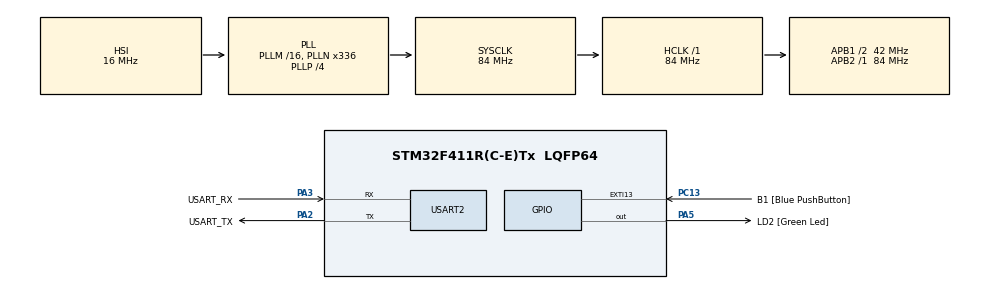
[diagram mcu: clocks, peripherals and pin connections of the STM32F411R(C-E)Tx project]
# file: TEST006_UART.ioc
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Mcu.Family=STM32F4
Mcu.Name=STM32F411R(C-E)Tx
Mcu.Package=LQFP64
NVIC.PriorityGroup=NVIC_PRIORITYGROUP_0
NVIC.USART2_IRQn=true\:0\:0\:false\:false\:true\:true\:true\:true
PA13.GPIO_Label=TMS
PA13.Mode=Serial_Wire
PA13.Signal=SYS_JTMS-SWDIO
PA14.GPIO_Label=TCK
PA14.Mode=Serial_Wire
PA14.Signal=SYS_JTCK-SWCLK
PA2.GPIO_Label=USART_TX
PA2.Mode=Asynchronous
PA2.Signal=USART2_TX
PA3.GPIO_Label=USART_RX
PA3.Mode=Asynchronous
PA3.Signal=USART2_RX
PA5.GPIO_Label=LD2 [Green Led]
PA5.Signal=GPIO_Output
PB3.GPIO_Label=SWO
PB3.Signal=SYS_JTDO-SWO
PC13-ANTI_TAMP.GPIO_Label=B1 [Blue PushButton]
PC13-ANTI_TAMP.GPIO_ModeDefaultEXTI=GPIO_MODE_IT_FALLING
PC13-ANTI_TAMP.Signal=GPXTI13
PC14-OSC32_IN.Mode=LSE-External-Oscillator
PC14-OSC32_IN.Signal=RCC_OSC32_IN
PC15-OSC32_OUT.Mode=LSE-External-Oscillator
PC15-OSC32_OUT.Signal=RCC_OSC32_OUT
PH0\ -\ OSC_IN.Mode=HSE-External-Clock-Source
PH0\ -\ OSC_IN.Signal=RCC_OSC_IN
PH1\ -\ OSC_OUT.Mode=HSE-External-Clock-Source
PH1\ -\ OSC_OUT.Signal=RCC_OSC_OUT
ProjectManager.HeapSize=0x200
ProjectManager.StackSize=0x400
ProjectManager.TargetToolchain=STM32CubeIDE
RCC.48MHZClocksFreq_Value=84000000
RCC.AHBFreq_Value=84000000
RCC.APB1CLKDivider=RCC_HCLK_DIV2
RCC.APB1Freq_Value=42000000
RCC.APB1TimFreq_Value=84000000
RCC.APB2Freq_Value=84000000
RCC.APB2TimFreq_Value=84000000
RCC.CortexFreq_Value=84000000
RCC.FLatency-AdvancedSettings=FLASH_LATENCY_2
RCC.HCLKFreq_Value=84000000
RCC.HSE_VALUE=8000000
RCC.HSI_VALUE=16000000
RCC.PLLN=336
RCC.PLLP=RCC_PLLP_DIV4
RCC.SYSCLKFreq_VALUE=84000000
RCC.SYSCLKSource=RCC_SYSCLKSOURCE_PLLCLK
RCC.VCOOutputFreq_Value=336000000
USART2.VirtualMode=VM_ASYNC
board=NUCLEO-F411RE

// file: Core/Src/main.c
/* USER CODE BEGIN Header */
/**
  ******************************************************************************
  * @file           : main.c
  * @brief          : Main program body
  ******************************************************************************
  * @attention
  *
  * Copyright (c) 2024 STMicroelectronics.
  * All rights reserved.
  *
  * This software is licensed under terms that can be found in the LICENSE file
  * in the root directory of this software component.
  * If no LICENSE file comes with this software, it is provided AS-IS.
  *
  ******************************************************************************
  */
/* USER CODE END Header */
#include "main.h"

UART_HandleTypeDef huart2;

void SystemClock_Config(void);
static void MX_GPIO_Init(void);
static void MX_USART2_UART_Init(void);

/* USER CODE BEGIN 0 */
char buf[500];
char dum;
int idx1 = 0;
int cmdok = 1;
void HAL_UART_RxCpltCallback(UART_HandleTypeDef *huart)
{
   HAL_UART_Transmit(&huart2, &dum, 1, 10);
   if(dum == '\r')
   {
      HAL_UART_Transmit(&huart2, "\n", 1, 10);
      cmdok = 1;
   }
   else cmdok = 0;

   buf[idx1++] = dum;
   buf[idx1] = 0;

   HAL_UART_Receive_IT(&huart2, &dum, 1);  // 1회성

   /*
   if(idx1 > 0 && dum == 0x0d)
   {
      printf("%s\r\n", buf); idx1 = 0;
   }
   */
}
/* USER CODE END 0 */

int main(void)
{

  /* MCU Configuration--------------------------------------------------------*/

  /* Reset of all peripherals, Initializes the Flash interface and the Systick. */
  HAL_Init();

  /* Configure the system clock */
  SystemClock_Config();

  /* Initialize all configured peripherals */
  MX_GPIO_Init();
  MX_USART2_UART_Init();
  /* USER CODE BEGIN 2 */
  ProgramStart("UART Rx-Interrupt");
  HAL_UART_Receive_IT(&huart2, &dum, 1);
  /* USER CODE END 2 */

  /* Infinite loop */
  while (1)
  {
     //if(idx1 > 0)
     if(cmdok > 0)
        {
    	 printf("%s\r\n\033[A\n>", buf);
         idx1 = 0;
         cmdok = 0;
        }
     HAL_Delay(10);
  }
}

void SystemClock_Config(void)
{
  RCC_OscInitTypeDef RCC_OscInitStruct = {0};
  RCC_ClkInitTypeDef RCC_ClkInitStruct = {0};

  /** Configure the main internal regulator output voltage
  */
  __HAL_RCC_PWR_CLK_ENABLE();
  __HAL_PWR_VOLTAGESCALING_CONFIG(PWR_REGULATOR_VOLTAGE_SCALE1);

  /** Initializes the RCC Oscillators according to the specified parameters
  * in the RCC_OscInitTypeDef structure.
  */
  RCC_OscInitStruct.OscillatorType = RCC_OSCILLATORTYPE_HSI;
  RCC_OscInitStruct.HSIState = RCC_HSI_ON;
  RCC_OscInitStruct.HSICalibrationValue = RCC_HSICALIBRATION_DEFAULT;
  RCC_OscInitStruct.PLL.PLLState = RCC_PLL_ON;
  RCC_OscInitStruct.PLL.PLLSource = RCC_PLLSOURCE_HSI;
  RCC_OscInitStruct.PLL.PLLM = 16;
  RCC_OscInitStruct.PLL.PLLN = 336;
  RCC_OscInitStruct.PLL.PLLP = RCC_PLLP_DIV4;
  RCC_OscInitStruct.PLL.PLLQ = 4;
  if (HAL_RCC_OscConfig(&RCC_OscInitStruct) != HAL_OK)
  {
    Error_Handler();
  }

  /** Initializes the CPU, AHB and APB buses clocks
  */
  RCC_ClkInitStruct.ClockType = RCC_CLOCKTYPE_HCLK|RCC_CLOCKTYPE_SYSCLK
                              |RCC_CLOCKTYPE_PCLK1|RCC_CLOCKTYPE_PCLK2;
  RCC_ClkInitStruct.SYSCLKSource = RCC_SYSCLKSOURCE_PLLCLK;
  RCC_ClkInitStruct.AHBCLKDivider = RCC_SYSCLK_DIV1;
  RCC_ClkInitStruct.APB1CLKDivider = RCC_HCLK_DIV2;
  RCC_ClkInitStruct.APB2CLKDivider = RCC_HCLK_DIV1;

  if (HAL_RCC_ClockConfig(&RCC_ClkInitStruct, FLASH_LATENCY_2) != HAL_OK)
  {
    Error_Handler();
  }
}

static void MX_USART2_UART_Init(void)
{

  huart2.Instance = USART2;
  huart2.Init.BaudRate = 115200;
  huart2.Init.WordLength = UART_WORDLENGTH_8B;
  huart2.Init.StopBits = UART_STOPBITS_1;
  huart2.Init.Parity = UART_PARITY_NONE;
  huart2.Init.Mode = UART_MODE_TX_RX;
  huart2.Init.HwFlowCtl = UART_HWCONTROL_NONE;
  huart2.Init.OverSampling = UART_OVERSAMPLING_16;
  if (HAL_UART_Init(&huart2) != HAL_OK)
  {
    Error_Handler();
  }

}

static void MX_GPIO_Init(void)
{
  GPIO_InitTypeDef GPIO_InitStruct = {0};

  /* GPIO Ports Clock Enable */
  __HAL_RCC_GPIOC_CLK_ENABLE();
  __HAL_RCC_GPIOH_CLK_ENABLE();
  __HAL_RCC_GPIOA_CLK_ENABLE();
  __HAL_RCC_GPIOB_CLK_ENABLE();

  /*Configure GPIO pin Output Level */
  HAL_GPIO_WritePin(LD2_GPIO_Port, LD2_Pin, GPIO_PIN_RESET);

  /*Configure GPIO pin : B1_Pin */
  GPIO_InitStruct.Pin = B1_Pin;
  GPIO_InitStruct.Mode = GPIO_MODE_IT_FALLING;
  GPIO_InitStruct.Pull = GPIO_NOPULL;
  HAL_GPIO_Init(B1_GPIO_Port, &GPIO_InitStruct);

  /*Configure GPIO pin : LD2_Pin */
  GPIO_InitStruct.Pin = LD2_Pin;
  GPIO_InitStruct.Mode = GPIO_MODE_OUTPUT_PP;
  GPIO_InitStruct.Pull = GPIO_NOPULL;
  GPIO_InitStruct.Speed = GPIO_SPEED_FREQ_LOW;
  HAL_GPIO_Init(LD2_GPIO_Port, &GPIO_InitStruct);

}

void Error_Handler(void)
{
  __disable_irq();
  while (1)
  {
  }
}
